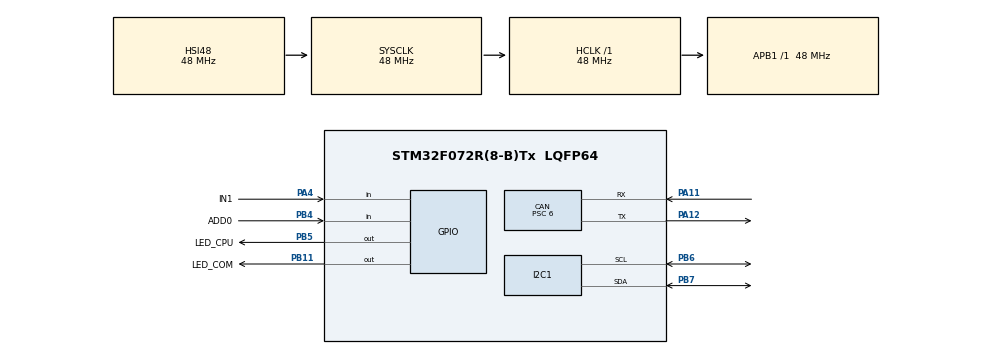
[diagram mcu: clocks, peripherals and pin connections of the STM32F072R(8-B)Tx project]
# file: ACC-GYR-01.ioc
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CAN.BS1=CAN_BS1_13TQ
CAN.BS2=CAN_BS2_2TQ
CAN.CalculateBaudRate=500000
CAN.CalculateTimeBit=2000
CAN.CalculateTimeQuantum=125.0
CAN.NART=ENABLE
CAN.Prescaler=6
I2C1.Timing=0x00201D2B
IWDG.Prescaler=IWDG_PRESCALER_64
Mcu.Family=STM32F0
Mcu.Name=STM32F072R(8-B)Tx
Mcu.Package=LQFP64
NVIC.CEC_CAN_IRQn=true\:0\:0\:false\:false\:true\:true\:true\:true
NVIC.TIM3_IRQn=true\:0\:0\:false\:false\:true\:true\:true\:true
PA11.Mode=CAN_Activate
PA11.Signal=CAN_RX
PA12.Mode=CAN_Activate
PA12.Signal=CAN_TX
PA13.Mode=Serial_Wire
PA13.Signal=SYS_SWDIO
PA14.Mode=Serial_Wire
PA14.Signal=SYS_SWCLK
PA4.GPIO_Label=IN1
PA4.GPIO_PuPd=GPIO_PULLUP
PA4.Signal=GPIO_Input
PB11.GPIO_Label=LED_COM
PB11.Signal=GPIO_Output
PB4.GPIO_Label=ADD0
PB4.GPIO_PuPd=GPIO_PULLUP
PB4.Signal=GPIO_Input
PB5.GPIO_Label=LED_CPU
PB5.Signal=GPIO_Output
PB6.Mode=I2C
PB6.Signal=I2C1_SCL
PB7.Mode=I2C
PB7.Signal=I2C1_SDA
ProjectManager.HeapSize=0x200
ProjectManager.StackSize=0x400
ProjectManager.TargetToolchain=STM32CubeIDE
RCC.AHBFreq_Value=48000000
RCC.APB1Freq_Value=48000000
RCC.APB1TimFreq_Value=48000000
RCC.HCLKFreq_Value=48000000
RCC.SYSCLKFreq_VALUE=48000000
RCC.SYSCLKSource=RCC_SYSCLKSOURCE_HSI48
TIM2.Prescaler=48-1
TIM3.Period=10-1
TIM3.Prescaler=480-1
VP_IWDG_VS_IWDG.Mode=IWDG_Activate
VP_TIM2_VS_ClockSourceINT.Mode=Internal
VP_TIM3_VS_ClockSourceINT.Mode=Internal
board=custom

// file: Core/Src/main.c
/* USER CODE BEGIN Header */
/**
  ******************************************************************************
  * @file           : main.c
  * @brief          : Main program body
  ******************************************************************************
  * @attention
  *
  * Copyright (c) 2026 STMicroelectronics.
  * All rights reserved.
  *
  * This software is licensed under terms that can be found in the LICENSE file
  * in the root directory of this software component.
  * If no LICENSE file comes with this software, it is provided AS-IS.
  *
  ******************************************************************************
  */
/* USER CODE END Header */
#include "main.h"

/* USER CODE BEGIN Includes */
#include "global.h"
/* USER CODE END Includes */

CAN_HandleTypeDef hcan;

I2C_HandleTypeDef hi2c1;

IWDG_HandleTypeDef hiwdg;

TIM_HandleTypeDef htim2;
TIM_HandleTypeDef htim3;

/* USER CODE BEGIN PV */
CAN_TxHeaderTypeDef	canTxHeader;
CAN_RxHeaderTypeDef	canRxHeader;

Mpu6050TypeDef mpu6050Data;

uint8_t
	flagPacoteCAN = false,
	flagEnviaPacoteCAN = false,
	flagLedCOM = false,

	flagLeituraMpu6050 = false,
	flagEndereco1 = false;

uint8_t
	contaTempoLeituraMpu6050 = 0;

uint32_t
	canTxMailbox;

uint8_t
	canTxBuffer[8],
	canRxBuffer[8];

/* USER CODE END PV */

void SystemClock_Config(void);
static void MX_GPIO_Init(void);
static void MX_CAN_Init(void);
static void MX_I2C1_Init(void);
static void MX_IWDG_Init(void);
static void MX_TIM2_Init(void);
static void MX_TIM3_Init(void);

/* USER CODE BEGIN 0 */
void HAL_TIM_PeriodElapsedCallback(TIM_HandleTypeDef *htim) {
	if(htim == &htim3) {
		schedulerEngine();
	}
}

void HAL_CAN_RxFifo0MsgPendingCallback(CAN_HandleTypeDef *hCan) {
	if(hCan == &hcan) {
		HAL_CAN_GetRxMessage(&hcan, CAN_RX_FIFO0, &canRxHeader, canRxBuffer);
		flagPacoteCAN = true;
	}
}

void delayMicro(uint32_t tempo) {
	__HAL_TIM_SET_COUNTER(&htim2, 0);
	while(__HAL_TIM_GET_COUNTER(&htim2) < tempo) {
	}
}

void reiniciaWatchDog() {
	HAL_IWDG_Refresh(&hiwdg);
}

/* USER CODE END 0 */

int main(void)
{

  /* MCU Configuration--------------------------------------------------------*/

  /* Reset of all peripherals, Initializes the Flash interface and the Systick. */
  HAL_Init();

  /* Configure the system clock */
  SystemClock_Config();

  /* Initialize all configured peripherals */
  MX_GPIO_Init();
  MX_CAN_Init();
  MX_I2C1_Init();
  MX_IWDG_Init();
  MX_TIM2_Init();
  MX_TIM3_Init();
  /* USER CODE BEGIN 2 */
  HAL_CAN_Start(&hcan);
  HAL_CAN_ActivateNotification(&hcan, CAN_IT_RX_FIFO0_MSG_PENDING);
  //Alterações no CAN INIT

  mpu6050Init();

  if(input(ADD0_GPIO_Port, ADD0_Pin)) {
	  flagEndereco1 = false;
  }
  else {
	  flagEndereco1 = true;
  }

  HAL_TIM_Base_Start(&htim2); //Timer do delay us
  HAL_TIM_Base_Start_IT(&htim3); //Timer do Scheduller

  /* USER CODE END 2 */

  /* Infinite loop */
  /* USER CODE BEGIN WHILE */
  while (1)
  {
	  if(flagLeituraMpu6050) {
		  flagLeituraMpu6050 = false;
		  leituraMpu6050();
	  }

	  if(flagEnviaPacoteCAN) {
		  flagEnviaPacoteCAN = false;
		  enviaPacoteCAN();
	  }

	  recebePacoteCAN();
    /* USER CODE END WHILE */

  }
}

void SystemClock_Config(void)
{
  RCC_OscInitTypeDef RCC_OscInitStruct = {0};
  RCC_ClkInitTypeDef RCC_ClkInitStruct = {0};
  RCC_PeriphCLKInitTypeDef PeriphClkInit = {0};

  /** Initializes the RCC Oscillators according to the specified parameters
  * in the RCC_OscInitTypeDef structure.
  */
  RCC_OscInitStruct.OscillatorType = RCC_OSCILLATORTYPE_HSI|RCC_OSCILLATORTYPE_HSI48
                              |RCC_OSCILLATORTYPE_LSI;
  RCC_OscInitStruct.HSIState = RCC_HSI_ON;
  RCC_OscInitStruct.HSI48State = RCC_HSI48_ON;
  RCC_OscInitStruct.HSICalibrationValue = RCC_HSICALIBRATION_DEFAULT;
  RCC_OscInitStruct.LSIState = RCC_LSI_ON;
  RCC_OscInitStruct.PLL.PLLState = RCC_PLL_NONE;
  if (HAL_RCC_OscConfig(&RCC_OscInitStruct) != HAL_OK)
  {
    Error_Handler();
  }

  /** Initializes the CPU, AHB and APB buses clocks
  */
  RCC_ClkInitStruct.ClockType = RCC_CLOCKTYPE_HCLK|RCC_CLOCKTYPE_SYSCLK
                              |RCC_CLOCKTYPE_PCLK1;
  RCC_ClkInitStruct.SYSCLKSource = RCC_SYSCLKSOURCE_HSI48;
  RCC_ClkInitStruct.AHBCLKDivider = RCC_SYSCLK_DIV1;
  RCC_ClkInitStruct.APB1CLKDivider = RCC_HCLK_DIV1;

  if (HAL_RCC_ClockConfig(&RCC_ClkInitStruct, FLASH_LATENCY_1) != HAL_OK)
  {
    Error_Handler();
  }
  PeriphClkInit.PeriphClockSelection = RCC_PERIPHCLK_I2C1;
  PeriphClkInit.I2c1ClockSelection = RCC_I2C1CLKSOURCE_HSI;
  if (HAL_RCCEx_PeriphCLKConfig(&PeriphClkInit) != HAL_OK)
  {
    Error_Handler();
  }
}

static void MX_CAN_Init(void)
{

  /* USER CODE BEGIN CAN_Init 0 */
	//calculo da configuração de velocidade
	//http://www.bittiming.can-wiki.info/
	//Selecionar ST e colocar a velocidade do clock (do APB1 ou do barramento correspondente a CAN)
	//gerar tabela e pegar os calores de prescaler, seg1 e seg2
	CAN_FilterTypeDef  sFilterConfig; //Inserido

	//hcan.Init.AutoRetransmission = ENABLE; --> Deve estar em ENABLE

  /* USER CODE END CAN_Init 0 */

  hcan.Instance = CAN;
  hcan.Init.Prescaler = 6;
  hcan.Init.Mode = CAN_MODE_NORMAL;
  hcan.Init.SyncJumpWidth = CAN_SJW_1TQ;
  hcan.Init.TimeSeg1 = CAN_BS1_13TQ;
  hcan.Init.TimeSeg2 = CAN_BS2_2TQ;
  hcan.Init.TimeTriggeredMode = DISABLE;
  hcan.Init.AutoBusOff = DISABLE;
  hcan.Init.AutoWakeUp = DISABLE;
  hcan.Init.AutoRetransmission = ENABLE;
  hcan.Init.ReceiveFifoLocked = DISABLE;
  hcan.Init.TransmitFifoPriority = DISABLE;
  if (HAL_CAN_Init(&hcan) != HAL_OK)
  {
    Error_Handler();
  }
  /* USER CODE BEGIN CAN_Init 2 */

  //Inserido abaixo

  sFilterConfig.FilterBank = 0;
  sFilterConfig.FilterMode = CAN_FILTERMODE_IDMASK;
  sFilterConfig.FilterScale = CAN_FILTERSCALE_32BIT;
  sFilterConfig.FilterIdHigh = 0x0000;
  sFilterConfig.FilterIdLow = 0x0000;
  sFilterConfig.FilterMaskIdHigh = 0x0000;
  sFilterConfig.FilterMaskIdLow = 0x0000;
  sFilterConfig.FilterFIFOAssignment = CAN_RX_FIFO0;
  sFilterConfig.FilterActivation = ENABLE;
  sFilterConfig.SlaveStartFilterBank = 14;

  if(HAL_CAN_ConfigFilter(&hcan, &sFilterConfig) != HAL_OK) {
	Error_Handler();
  }

  if(HAL_CAN_Start(&hcan) != HAL_OK) {
	Error_Handler();
  }

  /* USER CODE END CAN_Init 2 */

}

static void MX_I2C1_Init(void)
{

  hi2c1.Instance = I2C1;
  hi2c1.Init.Timing = 0x00201D2B;
  hi2c1.Init.OwnAddress1 = 0;
  hi2c1.Init.AddressingMode = I2C_ADDRESSINGMODE_7BIT;
  hi2c1.Init.DualAddressMode = I2C_DUALADDRESS_DISABLE;
  hi2c1.Init.OwnAddress2 = 0;
  hi2c1.Init.OwnAddress2Masks = I2C_OA2_NOMASK;
  hi2c1.Init.GeneralCallMode = I2C_GENERALCALL_DISABLE;
  hi2c1.Init.NoStretchMode = I2C_NOSTRETCH_DISABLE;
  if (HAL_I2C_Init(&hi2c1) != HAL_OK)
  {
    Error_Handler();
  }

  /** Configure Analogue filter
  */
  if (HAL_I2CEx_ConfigAnalogFilter(&hi2c1, I2C_ANALOGFILTER_ENABLE) != HAL_OK)
  {
    Error_Handler();
  }

  /** Configure Digital filter
  */
  if (HAL_I2CEx_ConfigDigitalFilter(&hi2c1, 0) != HAL_OK)
  {
    Error_Handler();
  }

}

static void MX_IWDG_Init(void)
{

  hiwdg.Instance = IWDG;
  hiwdg.Init.Prescaler = IWDG_PRESCALER_64;
  hiwdg.Init.Window = 4095;
  hiwdg.Init.Reload = 4095;
  if (HAL_IWDG_Init(&hiwdg) != HAL_OK)
  {
    Error_Handler();
  }

}

static void MX_TIM2_Init(void)
{

  TIM_ClockConfigTypeDef sClockSourceConfig = {0};
  TIM_MasterConfigTypeDef sMasterConfig = {0};

  htim2.Instance = TIM2;
  htim2.Init.Prescaler = 48-1;
  htim2.Init.CounterMode = TIM_COUNTERMODE_UP;
  htim2.Init.Period = 4294967295;
  htim2.Init.ClockDivision = TIM_CLOCKDIVISION_DIV1;
  htim2.Init.AutoReloadPreload = TIM_AUTORELOAD_PRELOAD_DISABLE;
  if (HAL_TIM_Base_Init(&htim2) != HAL_OK)
  {
    Error_Handler();
  }
  sClockSourceConfig.ClockSource = TIM_CLOCKSOURCE_INTERNAL;
  if (HAL_TIM_ConfigClockSource(&htim2, &sClockSourceConfig) != HAL_OK)
  {
    Error_Handler();
  }
  sMasterConfig.MasterOutputTrigger = TIM_TRGO_RESET;
  sMasterConfig.MasterSlaveMode = TIM_MASTERSLAVEMODE_DISABLE;
  if (HAL_TIMEx_MasterConfigSynchronization(&htim2, &sMasterConfig) != HAL_OK)
  {
    Error_Handler();
  }

}

static void MX_TIM3_Init(void)
{

  TIM_ClockConfigTypeDef sClockSourceConfig = {0};
  TIM_MasterConfigTypeDef sMasterConfig = {0};

  htim3.Instance = TIM3;
  htim3.Init.Prescaler = 480-1;
  htim3.Init.CounterMode = TIM_COUNTERMODE_UP;
  htim3.Init.Period = 10-1;
  htim3.Init.ClockDivision = TIM_CLOCKDIVISION_DIV1;
  htim3.Init.AutoReloadPreload = TIM_AUTORELOAD_PRELOAD_DISABLE;
  if (HAL_TIM_Base_Init(&htim3) != HAL_OK)
  {
    Error_Handler();
  }
  sClockSourceConfig.ClockSource = TIM_CLOCKSOURCE_INTERNAL;
  if (HAL_TIM_ConfigClockSource(&htim3, &sClockSourceConfig) != HAL_OK)
  {
    Error_Handler();
  }
  sMasterConfig.MasterOutputTrigger = TIM_TRGO_RESET;
  sMasterConfig.MasterSlaveMode = TIM_MASTERSLAVEMODE_DISABLE;
  if (HAL_TIMEx_MasterConfigSynchronization(&htim3, &sMasterConfig) != HAL_OK)
  {
    Error_Handler();
  }

}

static void MX_GPIO_Init(void)
{
  GPIO_InitTypeDef GPIO_InitStruct = {0};

  /* GPIO Ports Clock Enable */
  __HAL_RCC_GPIOA_CLK_ENABLE();
  __HAL_RCC_GPIOB_CLK_ENABLE();

  /*Configure GPIO pin Output Level */
  HAL_GPIO_WritePin(GPIOB, LED_COM_Pin|LED_CPU_Pin, GPIO_PIN_RESET);

  /*Configure GPIO pin : IN1_Pin */
  GPIO_InitStruct.Pin = IN1_Pin;
  GPIO_InitStruct.Mode = GPIO_MODE_INPUT;
  GPIO_InitStruct.Pull = GPIO_PULLUP;
  HAL_GPIO_Init(IN1_GPIO_Port, &GPIO_InitStruct);

  /*Configure GPIO pins : LED_COM_Pin LED_CPU_Pin */
  GPIO_InitStruct.Pin = LED_COM_Pin|LED_CPU_Pin;
  GPIO_InitStruct.Mode = GPIO_MODE_OUTPUT_PP;
  GPIO_InitStruct.Pull = GPIO_NOPULL;
  GPIO_InitStruct.Speed = GPIO_SPEED_FREQ_LOW;
  HAL_GPIO_Init(GPIOB, &GPIO_InitStruct);

  /*Configure GPIO pin : ADD0_Pin */
  GPIO_InitStruct.Pin = ADD0_Pin;
  GPIO_InitStruct.Mode = GPIO_MODE_INPUT;
  GPIO_InitStruct.Pull = GPIO_PULLUP;
  HAL_GPIO_Init(ADD0_GPIO_Port, &GPIO_InitStruct);

}

void Error_Handler(void)
{
  __disable_irq();
  while (1)
  {
  }
}
